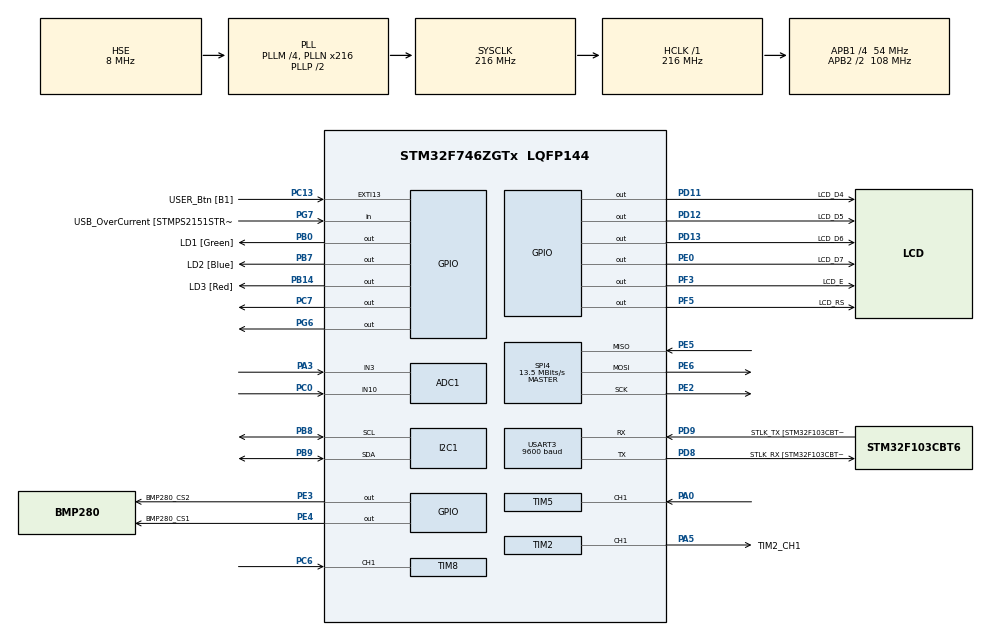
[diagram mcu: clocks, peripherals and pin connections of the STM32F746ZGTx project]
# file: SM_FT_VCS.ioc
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ADC1.Channel-14\#ChannelRegularConversion=ADC_CHANNEL_10
ADC1.Channel-4\#ChannelRegularConversion=ADC_CHANNEL_3
ADC1.EOCSelection=ADC_EOC_SEQ_CONV
ADC1.NbrOfConversion=2
ADC1.NbrOfConversionFlag=1
ADC1.Rank-14\#ChannelRegularConversion=2
ADC1.Rank-4\#ChannelRegularConversion=1
ADC1.SamplingTime-14\#ChannelRegularConversion=ADC_SAMPLETIME_480CYCLES
ADC1.SamplingTime-4\#ChannelRegularConversion=ADC_SAMPLETIME_480CYCLES
ADC1.master=1
ARM.CMSIS.5.7.0.CMSISJjCORE=true
ARM.CMSIS.5.7.0.CMSISJjDSP=Library
Dma.ADC1.0.Direction=DMA_PERIPH_TO_MEMORY
Dma.ADC1.0.FIFOMode=DMA_FIFOMODE_DISABLE
Dma.ADC1.0.Instance=DMA2_Stream0
Dma.ADC1.0.MemDataAlignment=DMA_MDATAALIGN_HALFWORD
Dma.ADC1.0.MemInc=DMA_MINC_ENABLE
Dma.ADC1.0.Mode=DMA_CIRCULAR
Dma.ADC1.0.PeriphDataAlignment=DMA_PDATAALIGN_HALFWORD
Dma.ADC1.0.PeriphInc=DMA_PINC_DISABLE
Dma.ADC1.0.Priority=DMA_PRIORITY_LOW
Dma.Request0=ADC1
I2C1.Timing=0x20404768
Mcu.Family=STM32F7
Mcu.Name=STM32F746ZGTx
Mcu.Package=LQFP144
NVIC.ADC_IRQn=true\:0\:0\:false\:false\:true\:true\:true
NVIC.DMA2_Stream0_IRQn=true\:0\:0\:false\:false\:true\:false\:true
NVIC.EXTI15_10_IRQn=true\:0\:0\:false\:false\:true\:true\:true
NVIC.I2C1_ER_IRQn=true\:0\:0\:false\:false\:true\:true\:true
NVIC.I2C1_EV_IRQn=true\:0\:0\:false\:false\:true\:true\:true
NVIC.PriorityGroup=NVIC_PRIORITYGROUP_4
NVIC.SPI4_IRQn=true\:0\:0\:false\:false\:true\:true\:true
NVIC.TIM2_IRQn=true\:0\:0\:false\:false\:true\:true\:true
NVIC.TIM3_IRQn=true\:0\:0\:false\:false\:true\:true\:true
NVIC.TIM8_CC_IRQn=true\:0\:0\:false\:false\:true\:true\:true
NVIC.USART3_IRQn=true\:0\:0\:false\:false\:true\:true\:true
PA0/WKUP.Signal=S_TIM5_CH1
PA1.GPIO_Label=RMII_REF_CLK [LAN8742A-CZ-TR_REFCLK0]
PA1.Signal=ETH_REF_CLK
PA10.GPIO_Label=USB_ID
PA10.Signal=USB_OTG_FS_ID
PA11.GPIO_Label=USB_DM
PA11.Signal=USB_OTG_FS_DM
PA12.GPIO_Label=USB_DP
PA12.Signal=USB_OTG_FS_DP
PA13.GPIO_Label=TMS
PA13.Mode=Serial_Wire
PA13.Signal=SYS_JTMS-SWDIO
PA14.GPIO_Label=TCK
PA14.Mode=Serial_Wire
PA14.Signal=SYS_JTCK-SWCLK
PA2.GPIO_Label=RMII_MDIO [LAN8742A-CZ-TR_MDIO]
PA2.Signal=ETH_MDIO
PA3.Signal=ADCx_IN3
PA5.GPIO_Label=TIM2_CH1
PA5.Signal=S_TIM2_CH1_ETR
PA7.GPIO_Label=RMII_CRS_DV [LAN8742A-CZ-TR_CRS_DV]
PA7.Signal=ETH_CRS_DV
PA8.GPIO_Label=USB_SOF [TP1]
PA8.Signal=USB_OTG_FS_SOF
PA9.GPIO_Label=USB_VBUS
PA9.Signal=USB_OTG_FS_VBUS
PB0.GPIO_Label=LD1 [Green]
PB0.Signal=GPIO_Output
PB13.GPIO_Label=RMII_TXD1 [LAN8742A-CZ-TR_TXD1]
PB13.Signal=ETH_TXD1
PB14.GPIO_Label=LD3 [Red]
PB14.Signal=GPIO_Output
PB3.GPIO_Label=SW0
PB3.Signal=SYS_JTDO-SWO
PB7.GPIO_Label=LD2 [Blue]
PB7.Signal=GPIO_Output
PB8.Mode=I2C
PB8.Signal=I2C1_SCL
PB9.Mode=I2C
PB9.Signal=I2C1_SDA
PC0.Signal=ADCx_IN10
PC1.GPIO_Label=RMII_MDC [LAN8742A-CZ-TR_MDC]
PC1.Signal=ETH_MDC
PC13.GPIO_Label=USER_Btn [B1]
PC13.Signal=GPXTI13
PC14/OSC32_IN.Mode=LSE-External-Oscillator
PC14/OSC32_IN.Signal=RCC_OSC32_IN
PC15/OSC32_OUT.Mode=LSE-External-Oscillator
PC15/OSC32_OUT.Signal=RCC_OSC32_OUT
PC4.GPIO_Label=RMII_RXD0 [LAN8742A-CZ-TR_RXD0]
PC4.Signal=ETH_RXD0
PC5.GPIO_Label=RMII_RXD1 [LAN8742A-CZ-TR_RXD1]
PC5.Signal=ETH_RXD1
PC6.Signal=S_TIM8_CH1
PC7.Signal=GPIO_Output
PD11.GPIO_Label=LCD_D4
PD11.Signal=GPIO_Output
PD12.GPIO_Label=LCD_D5
PD12.Signal=GPIO_Output
PD13.GPIO_Label=LCD_D6
PD13.Signal=GPIO_Output
PD8.GPIO_Label=STLK_RX [STM32F103CBT6_PA3]
PD8.Mode=Asynchronous
PD8.Signal=USART3_TX
PD9.GPIO_Label=STLK_TX [STM32F103CBT6_PA2]
PD9.Mode=Asynchronous
PD9.Signal=USART3_RX
PE0.GPIO_Label=LCD_D7
PE0.Signal=GPIO_Output
PE2.Mode=Full_Duplex_Master
PE2.Signal=SPI4_SCK
PE3.GPIO_Label=BMP280_CS2
PE3.Signal=GPIO_Output
PE4.GPIO_Label=BMP280_CS1
PE4.Signal=GPIO_Output
PE5.Mode=Full_Duplex_Master
PE5.Signal=SPI4_MISO
PE6.Mode=Full_Duplex_Master
PE6.Signal=SPI4_MOSI
PF3.GPIO_Label=LCD_E
PF3.Signal=GPIO_Output
PF5.GPIO_Label=LCD_RS
PF5.Signal=GPIO_Output
PG11.GPIO_Label=RMII_TX_EN [LAN8742A-CZ-TR_TXEN]
PG11.Signal=ETH_TX_EN
PG13.GPIO_Label=RMII_TXD0 [LAN8742A-CZ-TR_TXD0]
PG13.Signal=ETH_TXD0
PG6.Signal=GPIO_Output
PG7.GPIO_Label=USB_OverCurrent [STMPS2151STR_FAULT]
PG7.Signal=GPIO_Input
PH0/OSC_IN.GPIO_Label=MCO [STM32F103CBT6_PA8]
PH0/OSC_IN.Mode=HSE-External-Clock-Source
PH0/OSC_IN.Signal=RCC_OSC_IN
PH1/OSC_OUT.Mode=HSE-External-Clock-Source
PH1/OSC_OUT.Signal=RCC_OSC_OUT
ProjectManager.HeapSize=0x200
ProjectManager.StackSize=0x400
ProjectManager.TargetToolchain=STM32CubeIDE
RCC.48MHZClocksFreq_Value=24000000
RCC.AHBFreq_Value=216000000
RCC.APB1CLKDivider=RCC_HCLK_DIV4
RCC.APB1Freq_Value=54000000
RCC.APB1TimFreq_Value=108000000
RCC.APB2CLKDivider=RCC_HCLK_DIV2
RCC.APB2Freq_Value=108000000
RCC.APB2TimFreq_Value=216000000
RCC.CortexFreq_Value=216000000
RCC.HCLKFreq_Value=216000000
RCC.HSE_VALUE=8000000
RCC.HSI_VALUE=16000000
RCC.PLLM=4
RCC.PLLMUL=RCC_PLL_MUL9
RCC.PLLN=216
RCC.PLLQ=3
RCC.PLLSourceVirtual=RCC_PLLSOURCE_HSE
RCC.PRESCALERUSB=RCC_USBCLKSOURCE_PLL_DIV1_5
RCC.SYSCLKFreq_VALUE=216000000
RCC.SYSCLKSource=RCC_SYSCLKSOURCE_PLLCLK
RCC.SYSCLKSourceVirtual=RCC_SYSCLKSOURCE_PLLCLK
RCC.USBFreq_Value=144000000
RCC.VCOOutputFreq_Value=432000000
SH.ADCx_IN10.0=ADC1_IN10,IN10
SH.ADCx_IN3.0=ADC1_IN3,IN3
SH.S_TIM2_CH1_ETR.0=TIM2_CH1,PWM Generation1 CH1
SH.S_TIM5_CH1.0=TIM5_CH1,Input_Capture1_from_TI1
SH.S_TIM8_CH1.0=TIM8_CH1,Input_Capture1_from_TI1
SPI4.BaudRatePrescaler=SPI_BAUDRATEPRESCALER_8
SPI4.CLKPhase=SPI_PHASE_2EDGE
SPI4.CLKPolarity=SPI_POLARITY_HIGH
SPI4.CalculateBaudRate=13.5 MBits/s
SPI4.DataSize=SPI_DATASIZE_8BIT
SPI4.Direction=SPI_DIRECTION_2LINES
SPI4.Mode=SPI_MODE_MASTER
SPI4.VirtualType=VM_MASTER
TIM2.Channel-PWM\ Generation1\ CH1=TIM_CHANNEL_1
TIM2.Period=1000 -1
TIM2.Prescaler=2160 - 1
TIM2.Pulse-PWM\ Generation1\ CH1=0
TIM3.Period=1000 - 1
TIM3.Prescaler=108 - 1
TIM5.Channel-Input_Capture1_from_TI1=TIM_CHANNEL_1
TIM5.Period=0xffff - 1
TIM5.Prescaler=108
TIM8.Channel-Input_Capture1_from_TI1=TIM_CHANNEL_1
TIM8.Period=0xffff-1
TIM8.Prescaler=216-1
USART3.BaudRate=9600
USART3.VirtualMode-Asynchronous=VM_ASYNC
VP_ARM.CMSIS_VS_CMSISJjCORE_5.4.0_5.7.0.Mode=CMSISJjCORE
VP_ARM.CMSIS_VS_CMSISJjDSP_1.8.0_5.7.0.Mode=CMSISJjDSP
VP_TIM3_VS_ClockSourceINT.Mode=Internal
board=NUCLEO-F746ZG

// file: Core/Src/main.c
/* USER CODE BEGIN Header */
/**
  ******************************************************************************
  * @file           : main.c
  * @brief          : Main program body
  ******************************************************************************
  * @attention
  *
  * <h2><center>&copy; Copyright (c) 2021 STMicroelectronics.
  * All rights reserved.</center></h2>
  *
  * This software component is licensed by ST under BSD 3-Clause license,
  * the "License"; You may not use this file except in compliance with the
  * License. You may obtain a copy of the License at:
  *                        opensource.org/licenses/BSD-3-Clause
  *
  ******************************************************************************
  */
/* USER CODE END Header */
#include "main.h"
#include "adc.h"
#include "dma.h"
#include "i2c.h"
#include "spi.h"
#include "tim.h"
#include "usart.h"
#include "gpio.h"

/* USER CODE BEGIN Includes */

#include "arm_math.h"
#include "lcd_config.h"
#include "string.h"
#include "stdio.h"

/* USER CODE END Includes */

/* USER CODE BEGIN PM */
#define LINEAR_TRANSFORM(x,amin,amax,bmin,bmax) (((x-amin)/(amax-amin))*(bmax-bmin)+bmin) // angle to duty transform

/* USER CODE END PM */

/* USER CODE BEGIN PV */

float d = 0;
extern float Distance;

char dist[] = "POSITION :";
char setpoint[] = "SETPOINT : ";
char duty_LCD[] = "DUTY: ";
char cm[] = " cm";
int HomePosition = 73;

char pos_dist[10];
char set[10];
char duty_print[10];

int Kp=1.0, Ki=0.0;
float32_t kkp = 1.0;
float32_t kki = 0;

int duty=73; //only for calibration
char msg[]={}; //only for calibration
char msg1[]={};

uint32_t SETPOINT = 14;
uint32_t duty_val = 0;
float32_t SWV_VAR = 0;
float32_t error = 0;

arm_pid_instance_f32 pid = {.Kp = 1.3, .Ki = 0.001, .Kd =0.0001};

/* USER CODE END PV */

void SystemClock_Config(void);

/* USER CODE BEGIN 0 */

// PID Control Algorithm

void HAL_TIM_PeriodElapsedCallback(TIM_HandleTypeDef * htim){
	if(htim->Instance == TIM3){

		error = (float32_t)(SETPOINT-d);
		SWV_VAR = arm_pid_f32(&pid, error);
		duty_val = LINEAR_TRANSFORM(SWV_VAR, -6.9, 7.5, 55, 87); // angle and duty of servo relation

		if(duty_val <= 55){
			duty_val = 55; // max angle
		}
		else if(duty_val >= 87){
			duty_val = 87; // minimum angle
		}

		__HAL_TIM_SET_COMPARE(&htim2, TIM_CHANNEL_1, (int)duty_val); // set counter value

	}
}

/* USER CODE END 0 */

int main(void)
{

  /* MCU Configuration--------------------------------------------------------*/

  /* Reset of all peripherals, Initializes the Flash interface and the Systick. */
  HAL_Init();

  /* Configure the system clock */
  SystemClock_Config();

  /* Initialize all configured peripherals */
  MX_TIM2_Init();
  MX_I2C1_Init();
  MX_USART3_UART_Init();
  MX_GPIO_Init();
  MX_SPI4_Init();
  MX_DMA_Init();
  MX_TIM8_Init();
  MX_ADC1_Init();
  MX_TIM5_Init();
  MX_TIM3_Init();
  /* USER CODE BEGIN 2 */

  HAL_TIM_IC_Start_IT(&htim8, TIM_CHANNEL_1); // captures pulses
  HAL_TIM_PWM_Start(&htim2, TIM_CHANNEL_1); // servo control
  HAL_TIM_Base_Start_IT(&htim3); // PID Control Callback 100ms sampling
  LCD_Init(&hlcd1); // initialize LCD

  arm_pid_init_f32(&pid,1);

  /* USER CODE END 2 */

  /* Infinite loop */
  /* USER CODE BEGIN WHILE */
  while (1)
  {
	  //Sensor
	  HCSRO4_Read(&htim8);
	  HAL_Delay(30);
	  d = Distance;

	  //LCD
	  sprintf(pos_dist, "%.02f", d);
	  sprintf(duty_print, "%d", duty_val);

	  LCD_SetCursor(&hlcd1, 0, 0);
	  LCD_printStr(&hlcd1, dist);
	  LCD_printStr(&hlcd1, pos_dist);
	  LCD_printStr(&hlcd1, cm);
	  LCD_SetCursor(&hlcd1, 1, 0);
	  LCD_printStr(&hlcd1, duty_LCD);
	  LCD_printStr(&hlcd1, duty_print);
	  //LCD_printStr(&hlcd1, cm);

	  //UART communication for calibration*****
//	  if (HAL_UART_Receive(&huart3, (uint8_t *) msg, 12, HAL_MAX_DELAY) == HAL_OK){
//	  		  sscanf(msg, "DUTY_SET=%d", &duty);  // DUTY_SET=073
//	  		  __HAL_TIM_SET_COMPARE(&htim2, TIM_CHANNEL_1, duty);
//	  		  int n = sprintf(msg, "Duty was set to %d\r\n", duty);
//	  	  	  HAL_UART_Transmit(&huart3, (uint8_t *) msg, n, HAL_MAX_DELAY);
//
//	  	  }

	  //APP
//	  int n = sprintf(msg1, "%f", d);
//
//	  HAL_UART_Transmit(&huart3, (uint8_t*) msg1, n, 100);

    /* USER CODE END WHILE */

  }
}

void SystemClock_Config(void)
{
  RCC_OscInitTypeDef RCC_OscInitStruct = {0};
  RCC_ClkInitTypeDef RCC_ClkInitStruct = {0};
  RCC_PeriphCLKInitTypeDef PeriphClkInitStruct = {0};

  /** Configure LSE Drive Capability
  */
  HAL_PWR_EnableBkUpAccess();
  /** Configure the main internal regulator output voltage
  */
  __HAL_RCC_PWR_CLK_ENABLE();
  __HAL_PWR_VOLTAGESCALING_CONFIG(PWR_REGULATOR_VOLTAGE_SCALE1);
  /** Initializes the RCC Oscillators according to the specified parameters
  * in the RCC_OscInitTypeDef structure.
  */
  RCC_OscInitStruct.OscillatorType = RCC_OSCILLATORTYPE_HSE;
  RCC_OscInitStruct.HSEState = RCC_HSE_BYPASS;
  RCC_OscInitStruct.PLL.PLLState = RCC_PLL_ON;
  RCC_OscInitStruct.PLL.PLLSource = RCC_PLLSOURCE_HSE;
  RCC_OscInitStruct.PLL.PLLM = 4;
  RCC_OscInitStruct.PLL.PLLN = 216;
  RCC_OscInitStruct.PLL.PLLP = RCC_PLLP_DIV2;
  RCC_OscInitStruct.PLL.PLLQ = 3;
  if (HAL_RCC_OscConfig(&RCC_OscInitStruct) != HAL_OK)
  {
    Error_Handler();
  }
  /** Activate the Over-Drive mode
  */
  if (HAL_PWREx_EnableOverDrive() != HAL_OK)
  {
    Error_Handler();
  }
  /** Initializes the CPU, AHB and APB buses clocks
  */
  RCC_ClkInitStruct.ClockType = RCC_CLOCKTYPE_HCLK|RCC_CLOCKTYPE_SYSCLK
                              |RCC_CLOCKTYPE_PCLK1|RCC_CLOCKTYPE_PCLK2;
  RCC_ClkInitStruct.SYSCLKSource = RCC_SYSCLKSOURCE_PLLCLK;
  RCC_ClkInitStruct.AHBCLKDivider = RCC_SYSCLK_DIV1;
  RCC_ClkInitStruct.APB1CLKDivider = RCC_HCLK_DIV4;
  RCC_ClkInitStruct.APB2CLKDivider = RCC_HCLK_DIV2;

  if (HAL_RCC_ClockConfig(&RCC_ClkInitStruct, FLASH_LATENCY_7) != HAL_OK)
  {
    Error_Handler();
  }
  PeriphClkInitStruct.PeriphClockSelection = RCC_PERIPHCLK_USART3|RCC_PERIPHCLK_I2C1;
  PeriphClkInitStruct.Usart3ClockSelection = RCC_USART3CLKSOURCE_PCLK1;
  PeriphClkInitStruct.I2c1ClockSelection = RCC_I2C1CLKSOURCE_PCLK1;
  if (HAL_RCCEx_PeriphCLKConfig(&PeriphClkInitStruct) != HAL_OK)
  {
    Error_Handler();
  }
}

void Error_Handler(void)
{
  __disable_irq();
  while (1)
  {
  }
}

/************************ (C) COPYRIGHT STMicroelectronics *****END OF FILE****/
